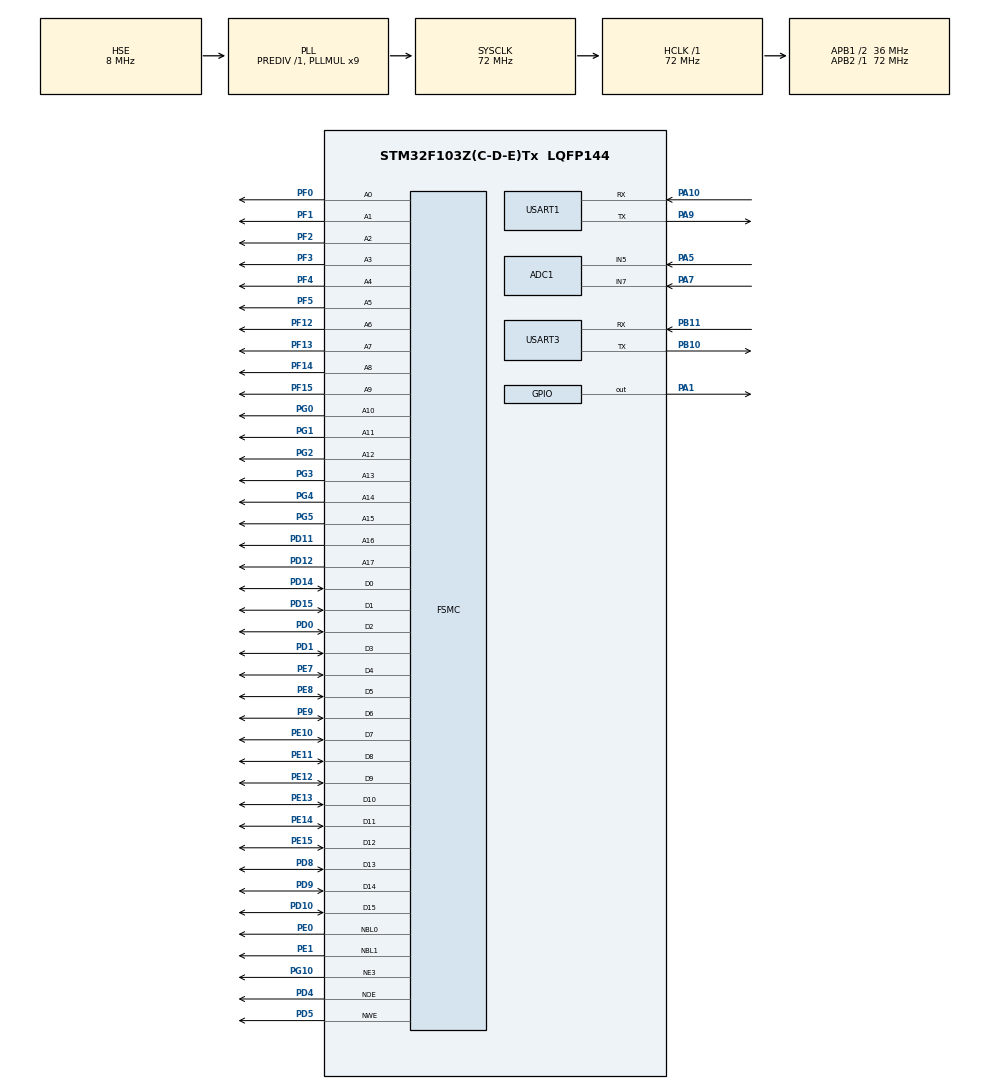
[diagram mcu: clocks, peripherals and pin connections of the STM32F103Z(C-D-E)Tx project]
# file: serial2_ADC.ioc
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ADC1.Channel-7\#ChannelRegularConversion=ADC_CHANNEL_5
ADC1.Channel-8\#ChannelRegularConversion=ADC_CHANNEL_7
ADC1.Channel-9\#ChannelRegularConversion=ADC_CHANNEL_TEMPSENSOR
ADC1.ContinuousConvMode=DISABLE
ADC1.DiscontinuousConvMode=ENABLE
ADC1.NbrOfConversion=3
ADC1.NbrOfConversionFlag=1
ADC1.Rank-7\#ChannelRegularConversion=1
ADC1.Rank-8\#ChannelRegularConversion=2
ADC1.Rank-9\#ChannelRegularConversion=3
ADC1.SamplingTime-7\#ChannelRegularConversion=ADC_SAMPLETIME_55CYCLES_5
ADC1.SamplingTime-8\#ChannelRegularConversion=ADC_SAMPLETIME_55CYCLES_5
ADC1.SamplingTime-9\#ChannelRegularConversion=ADC_SAMPLETIME_55CYCLES_5
ADC1.master=1
FSMC.AddressSetupTime1=0
FSMC.BusTurnAroundDuration1=0
FSMC.DataSetupTime1=2
FSMC.WriteOperation1=FSMC_WRITE_OPERATION_ENABLE
Mcu.Family=STM32F1
Mcu.Name=STM32F103Z(C-D-E)Tx
Mcu.Package=LQFP144
NVIC.PriorityGroup=NVIC_PRIORITYGROUP_4
NVIC.USART1_IRQn=true\:0\:0\:false\:false\:true\:true\:true\:true
NVIC.USART3_IRQn=true\:0\:0\:false\:false\:true\:true\:true\:true
OSC_IN.Mode=HSE-External-Oscillator
OSC_IN.Signal=RCC_OSC_IN
OSC_OUT.Mode=HSE-External-Oscillator
OSC_OUT.Signal=RCC_OSC_OUT
PA1.Signal=GPIO_Output
PA10.Mode=Asynchronous
PA10.Signal=USART1_RX
PA13.Mode=Serial_Wire
PA13.Signal=SYS_JTMS-SWDIO
PA14.Mode=Serial_Wire
PA14.Signal=SYS_JTCK-SWCLK
PA5.Signal=ADCx_IN5
PA7.Signal=ADCx_IN7
PA9.Mode=Asynchronous
PA9.Signal=USART1_TX
PB10.Mode=Asynchronous
PB10.Signal=USART3_TX
PB11.Mode=Asynchronous
PB11.Signal=USART3_RX
PC14-OSC32_IN.Mode=LSE-External-Oscillator
PC14-OSC32_IN.Signal=RCC_OSC32_IN
PC15-OSC32_OUT.Mode=LSE-External-Oscillator
PC15-OSC32_OUT.Signal=RCC_OSC32_OUT
PD0.Signal=FSMC_D2_DA2
PD1.Signal=FSMC_D3_DA3
PD10.Signal=FSMC_D15_DA15
PD11.Signal=FSMC_A16_CLE
PD12.Signal=FSMC_A17_ALE
PD14.Signal=FSMC_D0_DA0
PD15.Signal=FSMC_D1_DA1
PD4.Signal=FSMC_NOE
PD5.Signal=FSMC_NWE
PD8.Signal=FSMC_D13_DA13
PD9.Signal=FSMC_D14_DA14
PE0.Signal=FSMC_NBL0
PE1.Signal=FSMC_NBL1
PE10.Signal=FSMC_D7_DA7
PE11.Signal=FSMC_D8_DA8
PE12.Signal=FSMC_D9_DA9
PE13.Signal=FSMC_D10_DA10
PE14.Signal=FSMC_D11_DA11
PE15.Signal=FSMC_D12_DA12
PE7.Signal=FSMC_D4_DA4
PE8.Signal=FSMC_D5_DA5
PE9.Signal=FSMC_D6_DA6
PF0.Signal=FSMC_A0
PF1.Signal=FSMC_A1
PF12.Signal=FSMC_A6
PF13.Signal=FSMC_A7
PF14.Signal=FSMC_A8
PF15.Signal=FSMC_A9
PF2.Signal=FSMC_A2
PF3.Signal=FSMC_A3
PF4.Signal=FSMC_A4
PF5.Signal=FSMC_A5
PG0.Signal=FSMC_A10
PG1.Signal=FSMC_A11
PG10.Mode=NorPsramChipSelect3_1
PG10.Signal=FSMC_NE3
PG2.Signal=FSMC_A12
PG3.Signal=FSMC_A13
PG4.Signal=FSMC_A14
PG5.Signal=FSMC_A15
ProjectManager.HeapSize=0x200
ProjectManager.StackSize=0x400
ProjectManager.TargetToolchain=MDK-ARM V5.32
RCC.ADCPresc=RCC_ADCPCLK2_DIV6
RCC.AHBFreq_Value=72000000
RCC.APB1CLKDivider=RCC_HCLK_DIV2
RCC.APB1Freq_Value=36000000
RCC.APB1TimFreq_Value=72000000
RCC.APB2Freq_Value=72000000
RCC.APB2TimFreq_Value=72000000
RCC.HCLKFreq_Value=72000000
RCC.PLLMUL=RCC_PLL_MUL9
RCC.PLLSourceVirtual=RCC_PLLSOURCE_HSE
RCC.SYSCLKFreq_VALUE=72000000
RCC.SYSCLKSource=RCC_SYSCLKSOURCE_PLLCLK
RCC.USBFreq_Value=72000000
SH.ADCx_IN5.0=ADC1_IN5,IN5
SH.ADCx_IN7.0=ADC1_IN7,IN7
SH.FSMC_A0.0=FSMC_A0,18b-a1
SH.FSMC_A1.0=FSMC_A1,18b-a1
SH.FSMC_A10.0=FSMC_A10,18b-a1
SH.FSMC_A11.0=FSMC_A11,18b-a1
SH.FSMC_A12.0=FSMC_A12,18b-a1
SH.FSMC_A13.0=FSMC_A13,18b-a1
SH.FSMC_A14.0=FSMC_A14,18b-a1
SH.FSMC_A15.0=FSMC_A15,18b-a1
SH.FSMC_A16_CLE.0=FSMC_A16,18b-a1
SH.FSMC_A17_ALE.0=FSMC_A17,18b-a1
SH.FSMC_A2.0=FSMC_A2,18b-a1
SH.FSMC_A3.0=FSMC_A3,18b-a1
SH.FSMC_A4.0=FSMC_A4,18b-a1
SH.FSMC_A5.0=FSMC_A5,18b-a1
SH.FSMC_A6.0=FSMC_A6,18b-a1
SH.FSMC_A7.0=FSMC_A7,18b-a1
SH.FSMC_A8.0=FSMC_A8,18b-a1
SH.FSMC_A9.0=FSMC_A9,18b-a1
SH.FSMC_D0_DA0.0=FSMC_D0,16b-d1
SH.FSMC_D10_DA10.0=FSMC_D10,16b-d1
SH.FSMC_D11_DA11.0=FSMC_D11,16b-d1
SH.FSMC_D12_DA12.0=FSMC_D12,16b-d1
SH.FSMC_D13_DA13.0=FSMC_D13,16b-d1
SH.FSMC_D14_DA14.0=FSMC_D14,16b-d1
SH.FSMC_D15_DA15.0=FSMC_D15,16b-d1
SH.FSMC_D1_DA1.0=FSMC_D1,16b-d1
SH.FSMC_D2_DA2.0=FSMC_D2,16b-d1
SH.FSMC_D3_DA3.0=FSMC_D3,16b-d1
SH.FSMC_D4_DA4.0=FSMC_D4,16b-d1
SH.FSMC_D5_DA5.0=FSMC_D5,16b-d1
SH.FSMC_D6_DA6.0=FSMC_D6,16b-d1
SH.FSMC_D7_DA7.0=FSMC_D7,16b-d1
SH.FSMC_D8_DA8.0=FSMC_D8,16b-d1
SH.FSMC_D9_DA9.0=FSMC_D9,16b-d1
SH.FSMC_NBL0.0=FSMC_NBL0,2ByteEnable1
SH.FSMC_NBL1.0=FSMC_NBL1,2ByteEnable1
SH.FSMC_NOE.0=FSMC_NOE,Sram1
SH.FSMC_NWE.0=FSMC_NWE,Sram1
USART1.VirtualMode=VM_ASYNC
USART3.VirtualMode=VM_ASYNC
VP_ADC1_TempSens_Input.Mode=IN-TempSens
board=custom

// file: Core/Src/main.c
/* USER CODE BEGIN Header */
/**
  ******************************************************************************
  * @file           : main.c
  * @brief          : Main program body
  ******************************************************************************
  * @attention
  *
  * Copyright (c) 2023 STMicroelectronics.
  * All rights reserved.
  *
  * This software is licensed under terms that can be found in the LICENSE file
  * in the root directory of this software component.
  * If no LICENSE file comes with this software, it is provided AS-IS.
  *
  ******************************************************************************
  */
/* USER CODE END Header */
#include "main.h"
#include "adc.h"
#include "usart.h"
#include "gpio.h"
#include "fsmc.h"

/* USER CODE BEGIN Includes */
#include <stdio.h>
#include <string.h>
#include "delay.h"
#include "lcd.h"
#include "key.h"
/* USER CODE END Includes */

void SystemClock_Config(void);

/* USER CODE BEGIN 0 */

char send   [1024];

char IP     [100] = "IP is None";

int ADC[3];

char TXT_temperature[100];
float temperature = 54;

char TXT_humidity[100];
long int  humidity = 10;

char TXT_light[100];
long int  light = 54;

char combine[100];
void LCD_show()
{
		 sprintf(TXT_light,"light is %ld   ",light);
		 LCD_ShowString(30,40,210,16,16,TXT_light);

	   sprintf(TXT_humidity,"humidity is %ld%%   ",humidity);
		 LCD_ShowString(30,70,200,16,16,TXT_humidity);

	   sprintf(TXT_temperature,"temperature is %.0f   ",temperature);
		 LCD_ShowString(30,100,200,16,16,TXT_temperature);

	   //memset(IP,0,sizeof(IP));
		 LCD_ShowString(30,130,200,16,16,IP);
}

void UART_Send()
{
		 sprintf(combine,"h%d~l%d~t%.0f~",humidity,light,temperature);
	   HAL_UART_Transmit_IT((UART_HandleTypeDef* ) &huart1		     ,
		 										 (uint8_t*             ) combine	       ,
		 										 (uint16_t						 ) strlen(combine));      //阻塞输出
		 HAL_UART_Transmit_IT((UART_HandleTypeDef* ) &huart3		     ,
		 										 (uint8_t*             ) combine	       ,
		 										 (uint16_t						 ) strlen(combine));      //阻塞输出
}

char receive[50];
void UART_Receive()
{
		 if (HAL_UART_Receive(&huart3, (uint8_t *)receive, sizeof(receive),20) == HAL_OK)
		 {
	       //HAL_UART_Transmit_IT((UART_HandleTypeDef* ) &huart1		     ,
		     //										  (uint8_t*            ) receive	       ,
		     //										  (uint16_t						 ) strlen(receive));      //阻塞输出
				 if(receive[0] == 'I')
				 {
					 memset(IP,0,sizeof(IP));
					 strcat(IP,"IP is ");
					 memcpy(IP+6,receive+1,15);
				 }
		 }
}

char key_flag;

void Key_()
{
		unsigned char key=KEY_Scan(0);            //按键扫描
		switch(key)
		{
			case KEY0_PRES:
				   key_flag = !key_flag;
				   break;
			default:
				delay_ms(10);
		}
    delay_ms(10);
}

void receive_ADC()
{
	   int i = 0;
	   for(i = 0; i < 3; i++)
	   {
				 HAL_ADC_Start(&hadc1);
				 HAL_ADC_PollForConversion(&hadc1 ,50);
				 ADC[i] = HAL_ADC_GetValue( (ADC_HandleTypeDef*) &hadc1);

		 }
		 humidity		 = ADC[0];
		 light		   = ADC[1];
		 temperature = ADC[2];

		 humidity = ((4095 - humidity) * 100)/ 4096;
		 light    = ((4095 - light   ) * 100)/ 4096;
		 temperature = (( 1.43 -(temperature * (3.3/4096))) /0.0043 + 25 );

     HAL_ADC_Stop( (ADC_HandleTypeDef*) &hadc1);

}

void scan()
{
	   if (humidity < 5)
		 {
				 HAL_GPIO_WritePin( (GPIO_TypeDef*) GPIOA ,
											 (uint16_t		 ) GPIO_PIN_1 ,
											 (GPIO_PinState) 1         );
		 }
		 else
		 {
			   HAL_GPIO_WritePin( (GPIO_TypeDef*) GPIOA ,
											 (uint16_t		 ) GPIO_PIN_1 ,
											 (GPIO_PinState) 0         );
		 }
}

//void receive_temperature()
//{
//		 HAL_ADC_Start(&hadc2);
//		 HAL_ADC_PollForConversion(&hadc2,50);
//		 temperature = HAL_ADC_GetValue(&hadc2);
//	   HAL_Delay(5);
//		 temperature = ((4095 - temperature) * 100)/ 4096;
//
//		 //HAL_ADC_Stop( (ADC_HandleTypeDef*) &hadc2);
//
//}

/* USER CODE END 0 */

int main(void)
{

  /* MCU Configuration--------------------------------------------------------*/

  /* Reset of all peripherals, Initializes the Flash interface and the Systick. */
  HAL_Init();

  /* Configure the system clock */
  SystemClock_Config();

  /* Initialize all configured peripherals */
  MX_GPIO_Init();
  MX_ADC1_Init();
  MX_USART3_UART_Init();
  MX_USART1_UART_Init();
  MX_FSMC_Init();
  /* USER CODE BEGIN 2 */

	//HAL_ADC_Start(&hadc1);
	//HAL_ADC_Start(&hadc2);
	HAL_ADCEx_Calibration_Start(&hadc1);
	//HAL_ADCEx_Calibration_Start(&hadc2);
	KEY_Init();
  delay_init(72);
	LCD_Init();           				//初始化LCD FSMC接口
	LCD_Clear(WHITE);
  POINT_COLOR=RED;     				//画笔颜色：红色
  /* USER CODE END 2 */

  /* Infinite loop */
  /* USER CODE BEGIN WHILE */
  while (1)
  {
		if(key_flag)
		{
			 scan();
		}
		receive_ADC();
		//receive_humidity();
		LCD_show();
		UART_Send();
		UART_Receive();
		Key_();
    /* USER CODE END WHILE */

  }
}

void SystemClock_Config(void)
{
  RCC_OscInitTypeDef RCC_OscInitStruct = {0};
  RCC_ClkInitTypeDef RCC_ClkInitStruct = {0};
  RCC_PeriphCLKInitTypeDef PeriphClkInit = {0};

  /** Initializes the RCC Oscillators according to the specified parameters
  * in the RCC_OscInitTypeDef structure.
  */
  RCC_OscInitStruct.OscillatorType = RCC_OSCILLATORTYPE_HSE;
  RCC_OscInitStruct.HSEState = RCC_HSE_ON;
  RCC_OscInitStruct.HSEPredivValue = RCC_HSE_PREDIV_DIV1;
  RCC_OscInitStruct.HSIState = RCC_HSI_ON;
  RCC_OscInitStruct.PLL.PLLState = RCC_PLL_ON;
  RCC_OscInitStruct.PLL.PLLSource = RCC_PLLSOURCE_HSE;
  RCC_OscInitStruct.PLL.PLLMUL = RCC_PLL_MUL9;
  if (HAL_RCC_OscConfig(&RCC_OscInitStruct) != HAL_OK)
  {
    Error_Handler();
  }

  /** Initializes the CPU, AHB and APB buses clocks
  */
  RCC_ClkInitStruct.ClockType = RCC_CLOCKTYPE_HCLK|RCC_CLOCKTYPE_SYSCLK
                              |RCC_CLOCKTYPE_PCLK1|RCC_CLOCKTYPE_PCLK2;
  RCC_ClkInitStruct.SYSCLKSource = RCC_SYSCLKSOURCE_PLLCLK;
  RCC_ClkInitStruct.AHBCLKDivider = RCC_SYSCLK_DIV1;
  RCC_ClkInitStruct.APB1CLKDivider = RCC_HCLK_DIV2;
  RCC_ClkInitStruct.APB2CLKDivider = RCC_HCLK_DIV1;

  if (HAL_RCC_ClockConfig(&RCC_ClkInitStruct, FLASH_LATENCY_2) != HAL_OK)
  {
    Error_Handler();
  }
  PeriphClkInit.PeriphClockSelection = RCC_PERIPHCLK_ADC;
  PeriphClkInit.AdcClockSelection = RCC_ADCPCLK2_DIV6;
  if (HAL_RCCEx_PeriphCLKConfig(&PeriphClkInit) != HAL_OK)
  {
    Error_Handler();
  }
}

void Error_Handler(void)
{
  __disable_irq();
  while (1)
  {
  }
}
